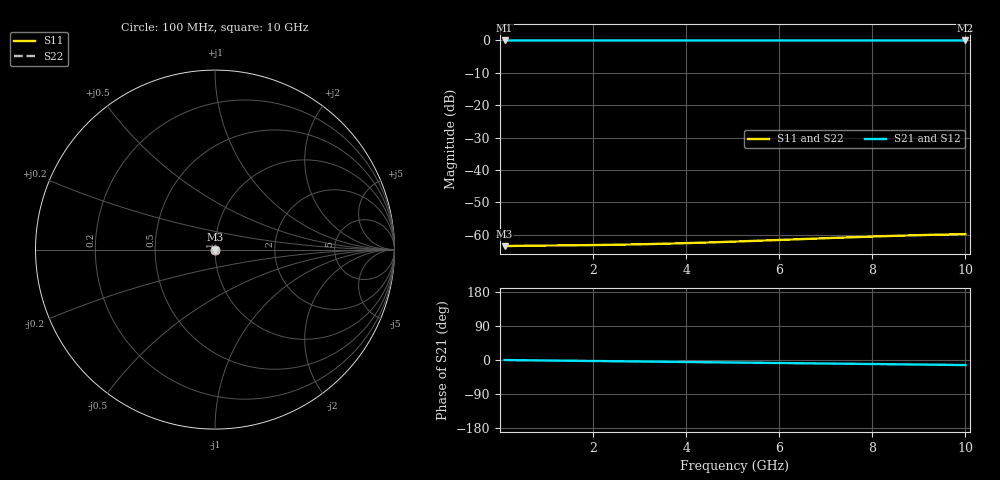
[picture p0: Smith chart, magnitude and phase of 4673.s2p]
# Hz S RI R 50.00
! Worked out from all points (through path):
!   100 points, 100 MHz to 10 GHz, reference 50 ohm
!   highest |S21| = -0.01 dB at 100 MHz (marker M1); lowest = 0.0 dB at 10 GHz (marker M2)
!   group delay of S21, straight-line fit = 3.69 ps
!   lowest |S11| = -63.5 dB at 100 MHz (marker M3), VSWR 1.00, Z = 50.1 - j0.000795 ohm
!   |S11| at or under -10 dB: start of sweep to end of sweep
!   |S22| runs from -63.5 to -59.8 dB; largest |S21 - S12| = 0
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1e8  0.000665 -7.94e-06  0.9993 -0.0023  0.9993 -0.0023  0.000665 -7.94e-06
2e8  0.000668 -1.59e-05  0.9993 -0.0046  0.9993 -0.0046  0.000668 -1.59e-05
3e8  0.00067 -2.39e-05  0.9993 -0.0069  0.9993 -0.0069  0.00067 -2.39e-05
5e8  0.000673 -4.01e-05  0.9992 -0.0115  0.9992 -0.0115  0.000673 -4.01e-05
1.8e9  0.000672 -0.000152  0.9984 -0.0414  0.9984 -0.0414  0.000672 -0.000152
2.2e9  0.000669 -0.000189  0.998 -0.0506  0.998 -0.0506  0.000669 -0.000189
2.6e9  0.000664 -0.000227  0.9975 -0.0598  0.9975 -0.0598  0.000664 -0.000227
3e9  0.000659 -0.000266  0.9969 -0.069  0.9969 -0.069  0.000659 -0.000266
3.4e9  0.000653 -0.000307  0.9962 -0.0782  0.9962 -0.0782  0.000653 -0.000307
3.8e9  0.000646 -0.000348  0.9954 -0.0874  0.9954 -0.0874  0.000646 -0.000348
4.2e9  0.000638 -0.00039  0.9945 -0.0966  0.9945 -0.0966  0.000638 -0.00039
4.6e9  0.00063 -0.000432  0.9936 -0.1058  0.9936 -0.1058  0.00063 -0.000432
5.1e9  0.000617 -0.000485  0.9923 -0.1174  0.9923 -0.1174  0.000617 -0.000485
5.7e9  0.000601 -0.000548  0.9906 -0.1312  0.9906 -0.1312  0.000601 -0.000548
6.7e9  0.000571 -0.000651  0.9872 -0.1542  0.9872 -0.1542  0.000571 -0.000651
7.6e9  0.000541 -0.000738  0.9838 -0.1748  0.9838 -0.1748  0.000541 -0.000738
8e9  0.000527 -0.000773  0.9821 -0.184  0.9821 -0.184  0.000527 -0.000773
8.4e9  0.000512 -0.000807  0.9803 -0.1932  0.9803 -0.1932  0.000512 -0.000807
8.8e9  0.000498 -0.000838  0.9784 -0.2023  0.9784 -0.2023  0.000498 -0.000838
9.2e9  0.000483 -0.000866  0.9765 -0.2115  0.9765 -0.2115  0.000483 -0.000866
9.6e9  0.000469 -0.000891  0.9745 -0.2206  0.9745 -0.2206  0.000469 -0.000891
1e10  0.000455 -0.000913  0.9723 -0.2298  0.9723 -0.2298  0.000455 -0.000913
